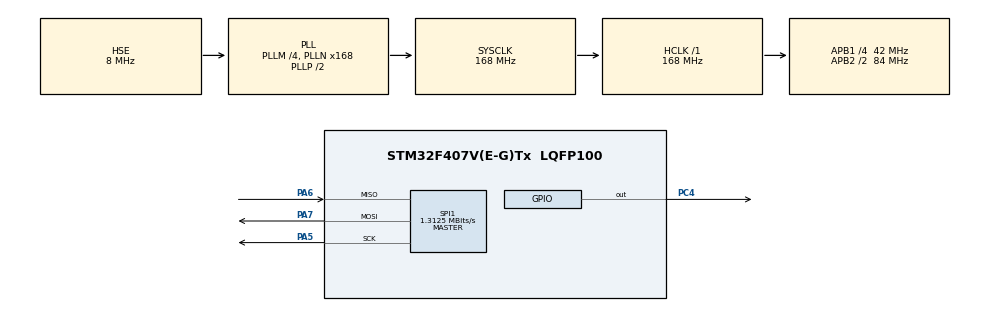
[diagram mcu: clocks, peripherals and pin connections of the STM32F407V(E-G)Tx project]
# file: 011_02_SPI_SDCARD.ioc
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FATFS._MAX_SS=4096
FATFS._USE_LFN=1
Mcu.Family=STM32F4
Mcu.Name=STM32F407V(E-G)Tx
Mcu.Package=LQFP100
NVIC.PriorityGroup=NVIC_PRIORITYGROUP_4
PA5.Mode=Full_Duplex_Master
PA5.Signal=SPI1_SCK
PA6.Mode=Full_Duplex_Master
PA6.Signal=SPI1_MISO
PA7.Mode=Full_Duplex_Master
PA7.Signal=SPI1_MOSI
PC4.Signal=GPIO_Output
PH0-OSC_IN.Mode=HSE-External-Oscillator
PH0-OSC_IN.Signal=RCC_OSC_IN
PH1-OSC_OUT.Mode=HSE-External-Oscillator
PH1-OSC_OUT.Signal=RCC_OSC_OUT
ProjectManager.HeapSize=0x200
ProjectManager.StackSize=0x400
ProjectManager.TargetToolchain=TrueSTUDIO
RCC.48MHZClocksFreq_Value=84000000
RCC.AHBFreq_Value=168000000
RCC.APB1CLKDivider=RCC_HCLK_DIV4
RCC.APB1Freq_Value=42000000
RCC.APB1TimFreq_Value=84000000
RCC.APB2CLKDivider=RCC_HCLK_DIV2
RCC.APB2Freq_Value=84000000
RCC.APB2TimFreq_Value=168000000
RCC.CortexFreq_Value=168000000
RCC.HCLKFreq_Value=168000000
RCC.HSE_VALUE=8000000
RCC.HSI_VALUE=16000000
RCC.LSE_VALUE=32768
RCC.PLLM=4
RCC.PLLN=168
RCC.PLLSourceVirtual=RCC_PLLSOURCE_HSE
RCC.SYSCLKFreq_VALUE=168000000
RCC.SYSCLKSource=RCC_SYSCLKSOURCE_PLLCLK
RCC.VCOOutputFreq_Value=336000000
SPI1.BaudRatePrescaler=SPI_BAUDRATEPRESCALER_64
SPI1.CalculateBaudRate=1.3125 MBits/s
SPI1.Direction=SPI_DIRECTION_2LINES
SPI1.Mode=SPI_MODE_MASTER
SPI1.VirtualType=VM_MASTER
VP_FATFS_VS_Generic.Mode=User_defined
board=custom

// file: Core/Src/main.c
/* USER CODE BEGIN Header */
/**
  ******************************************************************************
  * @file           : main.c
  * @brief          : Main program body
  ******************************************************************************
  * @attention
  *
  * Copyright (c) 2022 STMicroelectronics.
  * All rights reserved.
  *
  * This software is licensed under terms that can be found in the LICENSE file
  * in the root directory of this software component.
  * If no LICENSE file comes with this software, it is provided AS-IS.
  *
  ******************************************************************************
  */
/* USER CODE END Header */
#include "main.h"
#include "fatfs.h"

/* USER CODE BEGIN Includes */

#include "fatfs_sd.h"
#include "string.h"

/* USER CODE END Includes */

SPI_HandleTypeDef hspi1;

/* USER CODE BEGIN PV */

FATFS fs;//dosya sistemi
FIL file ; //dosyamýz
FRESULT fresult;//depolama
char buffer[1024];//data

UINT br,bw;

FATFS *pfps;
DWORD free_clust;
uint32_t total,free_space;

/* USER CODE END PV */

void SystemClock_Config(void);
static void MX_GPIO_Init(void);
static void MX_SPI1_Init(void);

/* USER CODE BEGIN 0 */

int buffersize(char*buff){
	int i=0;
	while(*buff++!='\0'){
		i++;
	}
	return i;
}
void bufferclear(void){
	for(int i=0;i<1024;i++){
		buffer[i]='\0';
	}
}

/* USER CODE END 0 */

int main(void)
{

  /* MCU Configuration--------------------------------------------------------*/

  /* Reset of all peripherals, Initializes the Flash interface and the Systick. */
  HAL_Init();

  /* Configure the system clock */
  SystemClock_Config();

  /* Initialize all configured peripherals */
  MX_GPIO_Init();
  MX_SPI1_Init();
  MX_FATFS_Init();
  /* USER CODE BEGIN 2 */

  fresult=f_mount(&fs,"",0);
  f_getfree("",&free_clust,&pfps);
  //free_space=(uint32_t)((pfps->n_fatent-2)*pfs->csize*0.5);

  /* USER CODE END 2 */

  /* Infinite loop */
  while (1)
  {

  }
}

void SystemClock_Config(void)
{
  RCC_OscInitTypeDef RCC_OscInitStruct = {0};
  RCC_ClkInitTypeDef RCC_ClkInitStruct = {0};

  /** Configure the main internal regulator output voltage
  */
  __HAL_RCC_PWR_CLK_ENABLE();
  __HAL_PWR_VOLTAGESCALING_CONFIG(PWR_REGULATOR_VOLTAGE_SCALE1);
  /** Initializes the RCC Oscillators according to the specified parameters
  * in the RCC_OscInitTypeDef structure.
  */
  RCC_OscInitStruct.OscillatorType = RCC_OSCILLATORTYPE_HSE;
  RCC_OscInitStruct.HSEState = RCC_HSE_ON;
  RCC_OscInitStruct.PLL.PLLState = RCC_PLL_ON;
  RCC_OscInitStruct.PLL.PLLSource = RCC_PLLSOURCE_HSE;
  RCC_OscInitStruct.PLL.PLLM = 4;
  RCC_OscInitStruct.PLL.PLLN = 168;
  RCC_OscInitStruct.PLL.PLLP = RCC_PLLP_DIV2;
  RCC_OscInitStruct.PLL.PLLQ = 4;
  if (HAL_RCC_OscConfig(&RCC_OscInitStruct) != HAL_OK)
  {
    Error_Handler();
  }
  /** Initializes the CPU, AHB and APB buses clocks
  */
  RCC_ClkInitStruct.ClockType = RCC_CLOCKTYPE_HCLK|RCC_CLOCKTYPE_SYSCLK
                              |RCC_CLOCKTYPE_PCLK1|RCC_CLOCKTYPE_PCLK2;
  RCC_ClkInitStruct.SYSCLKSource = RCC_SYSCLKSOURCE_PLLCLK;
  RCC_ClkInitStruct.AHBCLKDivider = RCC_SYSCLK_DIV1;
  RCC_ClkInitStruct.APB1CLKDivider = RCC_HCLK_DIV4;
  RCC_ClkInitStruct.APB2CLKDivider = RCC_HCLK_DIV2;

  if (HAL_RCC_ClockConfig(&RCC_ClkInitStruct, FLASH_LATENCY_5) != HAL_OK)
  {
    Error_Handler();
  }
}

static void MX_SPI1_Init(void)
{

  /* SPI1 parameter configuration*/
  hspi1.Instance = SPI1;
  hspi1.Init.Mode = SPI_MODE_MASTER;
  hspi1.Init.Direction = SPI_DIRECTION_2LINES;
  hspi1.Init.DataSize = SPI_DATASIZE_8BIT;
  hspi1.Init.CLKPolarity = SPI_POLARITY_LOW;
  hspi1.Init.CLKPhase = SPI_PHASE_1EDGE;
  hspi1.Init.NSS = SPI_NSS_SOFT;
  hspi1.Init.BaudRatePrescaler = SPI_BAUDRATEPRESCALER_64;
  hspi1.Init.FirstBit = SPI_FIRSTBIT_MSB;
  hspi1.Init.TIMode = SPI_TIMODE_DISABLE;
  hspi1.Init.CRCCalculation = SPI_CRCCALCULATION_DISABLE;
  hspi1.Init.CRCPolynomial = 10;
  if (HAL_SPI_Init(&hspi1) != HAL_OK)
  {
    Error_Handler();
  }

}

static void MX_GPIO_Init(void)
{
  GPIO_InitTypeDef GPIO_InitStruct = {0};

  /* GPIO Ports Clock Enable */
  __HAL_RCC_GPIOH_CLK_ENABLE();
  __HAL_RCC_GPIOA_CLK_ENABLE();
  __HAL_RCC_GPIOC_CLK_ENABLE();

  /*Configure GPIO pin Output Level */
  HAL_GPIO_WritePin(GPIOC, GPIO_PIN_4, GPIO_PIN_RESET);

  /*Configure GPIO pin : PC4 */
  GPIO_InitStruct.Pin = GPIO_PIN_4;
  GPIO_InitStruct.Mode = GPIO_MODE_OUTPUT_PP;
  GPIO_InitStruct.Pull = GPIO_NOPULL;
  GPIO_InitStruct.Speed = GPIO_SPEED_FREQ_LOW;
  HAL_GPIO_Init(GPIOC, &GPIO_InitStruct);

}

void Error_Handler(void)
{
  __disable_irq();
  while (1)
  {
  }
}
